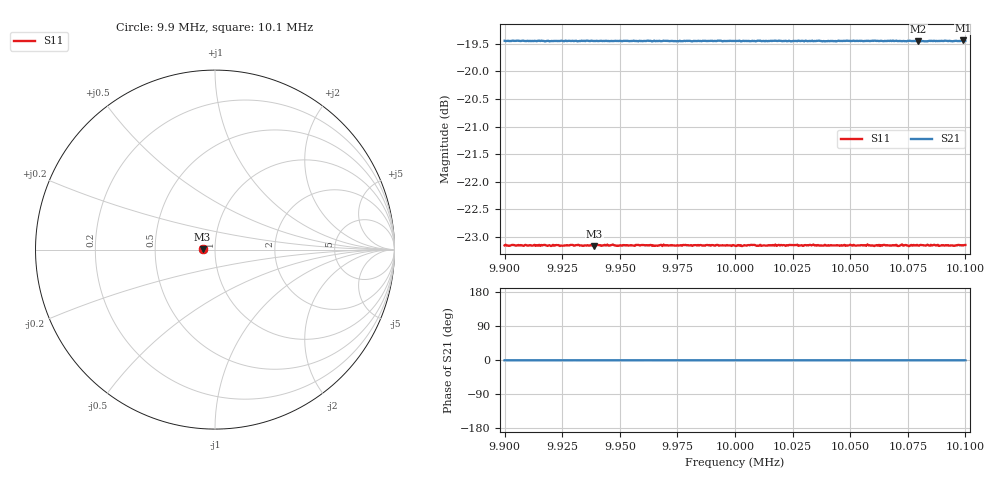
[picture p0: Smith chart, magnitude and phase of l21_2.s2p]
! NanoVNA-App
! Date: 2026-10-13 22:12:55
! Start: 9,9MHz Stop: 10,1MHz Points: 401
! S-Parameter data: F S11 S21 S12 S22
# Hz S RI R 50
!  Frequency  S11_Real  S11_Imag  S21_Real  S21_Imag  S12_Real  S12_Imag  S22_Real  S22_Imag
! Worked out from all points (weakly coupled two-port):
!   401 points, 9.9 MHz to 10.1 MHz, reference 50 ohm
!   highest |S21| = -19.44 dB at 10.099 MHz (marker M1); lowest = -19.5 dB at 10.079 MHz (marker M2)
!   lowest |S11| = -23.2 dB at 9.939 MHz (marker M3), VSWR 1.15, Z = 43.5 + j0.344 ohm
!   |S11| at or under -10 dB: start of sweep to end of sweep
!   S12 and S22 are empty: the file has one direction only
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9900000  -0.0695 0.00394  0.1066 -0.00146  0 0  0 0
9917000  -0.0695 0.00398  0.1065 -0.00138  0 0  0 0
9919500  -0.0695 0.00395  0.1064 -0.00138  0 0  0 0
9922000  -0.0695 0.004  0.1065 -0.00141  0 0  0 0
9925000  -0.0694 0.00401  0.1066 -0.00139  0 0  0 0
9928500  -0.0695 0.00399  0.1065 -0.00144  0 0  0 0
9933500  -0.0694 0.00394  0.1066 -0.00137  0 0  0 0
9939000  -0.0693 0.00393  0.1065 -0.00136  0 0  0 0
9967000  -0.0695 0.00391  0.1066 -0.00136  0 0  0 0
1e7  -0.0694 0.00388  0.1065 -0.00139  0 0  0 0
1.0004e7  -0.0695 0.00382  0.1065 -0.00146  0 0  0 0
1.00075e7  -0.0695 0.00393  0.1066 -0.00151  0 0  0 0
1.00105e7  -0.0694 0.00395  0.1066 -0.00143  0 0  0 0
1.0026e7  -0.0695 0.00392  0.1065 -0.00148  0 0  0 0
1.00285e7  -0.0694 0.0039  0.1065 -0.00139  0 0  0 0
1.00335e7  -0.0695 0.00398  0.1066 -0.00146  0 0  0 0
1.00375e7  -0.0694 0.00388  0.1065 -0.00143  0 0  0 0
1.0067e7  -0.0694 0.0039  0.1065 -0.0014  0 0  0 0
1.00795e7  -0.0694 0.00382  0.1064 -0.00144  0 0  0 0
1.00945e7  -0.0694 0.00386  0.1065 -0.00142  0 0  0 0
1.0099e7  -0.0695 0.00387  0.1066 -0.00141  0 0  0 0
1.01e7  -0.0695 0.00395  0.1065 -0.00145  0 0  0 0
